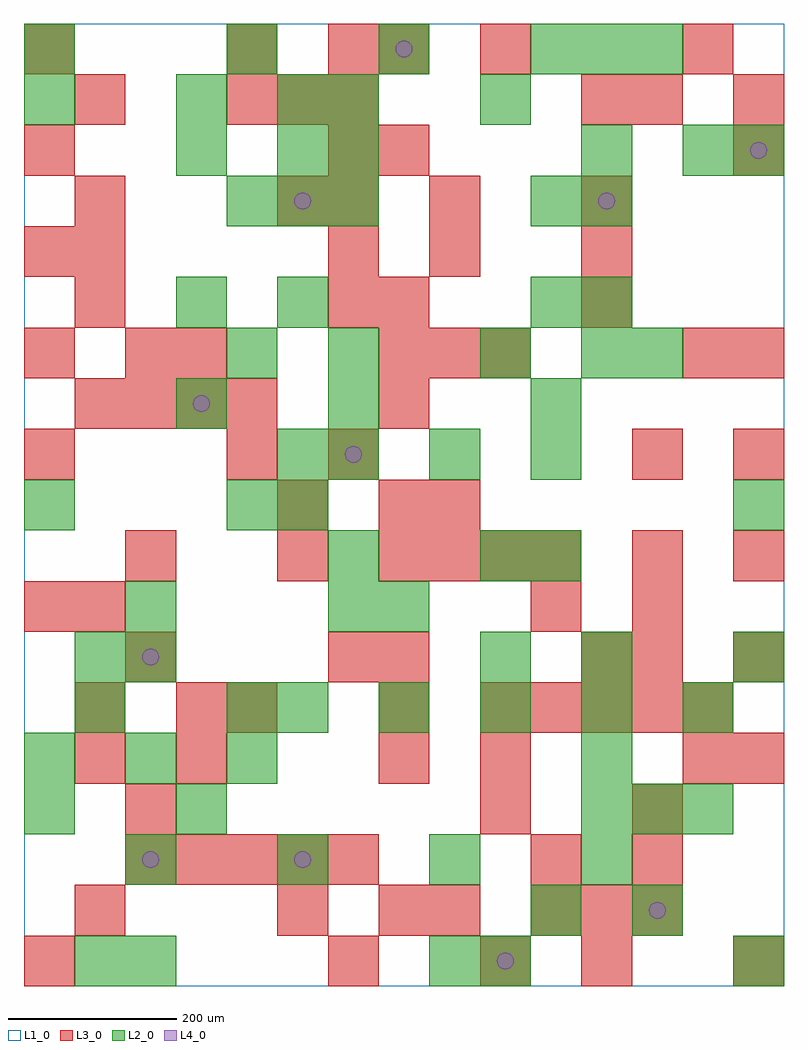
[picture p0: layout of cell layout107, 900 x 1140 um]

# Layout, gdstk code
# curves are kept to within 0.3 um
import gdstk
lib = gdstk.Library(unit=1e-6, precision=1e-09)
def R(c, l, rs):  # rectangles x0, y0, x1, y1
    for r in rs: c.add(gdstk.rectangle(r[:2], r[2:], *l))
def A(c, l, x, y, w, h, nx, ny, dx, dy):  # array of equal rectangles
    R(c, l, [(x+i*dx, y+j*dy, x+i*dx+w, y+j*dy+h) for i in range(nx) for j in range(ny)])
def P(c, l, *ps):  # polygons
    for p in ps: c.add(gdstk.Polygon(p, *l))
L1_0 = (1, 0)
L2_0 = (2, 0)
L3_0 = (3, 0)
L4_0 = (4, 0)

layout107 = lib.new_cell('layout107')
R(layout107, L1_0, [(0,0,900,1140)])
A(layout107, L2_0, 120, 120, 60, 60, 4, 1, 180, 0)
A(layout107, L2_0, 660, 180, 60, 60, 3, 1, 60, 0)
A(layout107, L2_0, 0, 240, 60, 60, 3, 1, 120, 0)
A(layout107, L2_0, 300, 300, 60, 60, 5, 1, 120, 0)
A(layout107, L2_0, 300, 600, 60, 60, 1, 3, 0, 180)
A(layout107, L2_0, 360, 600, 60, 60, 3, 1, 120, 0)
A(layout107, L2_0, 600, 660, 60, 60, 1, 3, 0, 120)
A(layout107, L2_0, 240, 900, 60, 60, 3, 1, 60, 0)
A(layout107, L2_0, 240, 1080, 60, 60, 3, 1, 180, 0)
R(layout107, L2_0, [(60,0,120,60), (120,0,180,60), (480,0,540,60), (540,0,600,60), (840,0,900,60), (600,60,660,120), (720,60,780,120), (0,180,60,240), (180,180,240,240), (660,240,720,300), (60,300,120,360), (240,300,300,360), (60,360,120,420), (120,360,180,420), (540,360,600,420), (660,360,720,420), (840,360,900,420), (120,420,180,480), (360,420,420,480), (420,420,480,480), (360,480,420,540), (540,480,600,540), (600,480,660,540), (0,540,60,600), (240,540,300,600), (300,540,360,600), (840,540,900,600), (180,660,240,720), (360,660,420,720), (240,720,300,780), (360,720,420,780), (540,720,600,780), (660,720,720,780), (720,720,780,780), (180,780,240,840), (660,780,720,840), (660,900,720,960), (180,960,240,1020), (360,960,420,1020), (660,960,720,1020), (780,960,840,1020), (840,960,900,1020), (0,1020,60,1080), (180,1020,240,1080), (300,1020,360,1080), (360,1020,420,1080), (540,1020,600,1080), (0,1080,60,1140), (660,1080,720,1140), (720,1080,780,1140)])
A(layout107, L3_0, 600, 60, 60, 60, 3, 1, 60, 0)
A(layout107, L3_0, 120, 120, 60, 60, 5, 1, 60, 0)
A(layout107, L3_0, 420, 240, 60, 60, 1, 3, 0, 60)
A(layout107, L3_0, 840, 240, 60, 60, 1, 5, 0, 120)
A(layout107, L3_0, 540, 300, 60, 60, 5, 1, 60, 0)
A(layout107, L3_0, 720, 360, 60, 60, 1, 3, 0, 60)
A(layout107, L3_0, 420, 480, 60, 60, 4, 1, 60, 0)
A(layout107, L3_0, 420, 540, 60, 60, 1, 3, 0, 120)
A(layout107, L3_0, 0, 600, 60, 60, 1, 5, 0, 120)
A(layout107, L3_0, 60, 660, 60, 60, 4, 1, 60, 0)
A(layout107, L3_0, 420, 720, 60, 60, 3, 1, 60, 0)
A(layout107, L3_0, 60, 780, 60, 60, 1, 3, 0, 60)
A(layout107, L3_0, 360, 780, 60, 60, 1, 4, 0, 60)
A(layout107, L3_0, 660, 780, 60, 60, 1, 3, 0, 60)
A(layout107, L3_0, 240, 1020, 60, 60, 3, 1, 60, 0)
R(layout107, L3_0, [(0,0,60,60), (360,0,420,60), (540,0,600,60), (660,0,720,60), (840,0,900,60), (60,60,120,120), (300,60,360,120), (420,60,480,120), (480,60,540,120), (600,120,660,180), (720,120,780,180), (120,180,180,240), (540,180,600,240), (720,180,780,240), (60,240,120,300), (180,240,240,300), (540,240,600,300), (780,240,840,300), (60,300,120,360), (180,300,240,360), (240,300,300,360), (120,360,180,420), (360,360,420,420), (660,360,720,420), (0,420,60,480), (60,420,120,480), (600,420,660,480), (120,480,180,540), (300,480,360,540), (300,540,360,600), (480,540,540,600), (240,600,300,660), (360,600,420,660), (720,600,780,660), (120,720,180,780), (180,720,240,780), (780,720,840,780), (480,840,540,900), (300,900,360,960), (480,900,540,960), (420,960,480,1020), (840,960,900,1020), (60,1020,120,1080), (660,1020,720,1080), (720,1020,780,1080), (840,1020,900,1080), (240,1080,300,1140), (360,1080,420,1140), (420,1080,480,1140), (540,1080,600,1140), (780,1080,840,1140)])
P(layout107, L4_0, [(160,150),(159.239,153.827),(157.071,157.071),(153.827,159.239),(150,160),(146.173,159.239),(142.929,157.071),(140.761,153.827),(140,150),(140.761,146.173),(142.929,142.929),(146.173,140.761),(150,140),(153.827,140.761),(157.071,142.929),(159.239,146.173)],
  [(160,390),(159.239,393.827),(157.071,397.071),(153.827,399.239),(150,400),(146.173,399.239),(142.929,397.071),(140.761,393.827),(140,390),(140.761,386.173),(142.929,382.929),(146.173,380.761),(150,380),(153.827,380.761),(157.071,382.929),(159.239,386.173)],
  [(220,690),(219.239,693.827),(217.071,697.071),(213.827,699.239),(210,700),(206.173,699.239),(202.929,697.071),(200.761,693.827),(200,690),(200.761,686.173),(202.929,682.929),(206.173,680.761),(210,680),(213.827,680.761),(217.071,682.929),(219.239,686.173)],
  [(340,150),(339.239,153.827),(337.071,157.071),(333.827,159.239),(330,160),(326.173,159.239),(322.929,157.071),(320.761,153.827),(320,150),(320.761,146.173),(322.929,142.929),(326.173,140.761),(330,140),(333.827,140.761),(337.071,142.929),(339.239,146.173)],
  [(340,930),(339.239,933.827),(337.071,937.071),(333.827,939.239),(330,940),(326.173,939.239),(322.929,937.071),(320.761,933.827),(320,930),(320.761,926.173),(322.929,922.929),(326.173,920.761),(330,920),(333.827,920.761),(337.071,922.929),(339.239,926.173)],
  [(400,630),(399.239,633.827),(397.071,637.071),(393.827,639.239),(390,640),(386.173,639.239),(382.929,637.071),(380.761,633.827),(380,630),(380.761,626.173),(382.929,622.929),(386.173,620.761),(390,620),(393.827,620.761),(397.071,622.929),(399.239,626.173)],
  [(460,1110),(459.239,1113.827),(457.071,1117.071),(453.827,1119.239),(450,1120),(446.173,1119.239),(442.929,1117.071),(440.761,1113.827),(440,1110),(440.761,1106.173),(442.929,1102.929),(446.173,1100.761),(450,1100),(453.827,1100.761),(457.071,1102.929),(459.239,1106.173)],
  [(580,30),(579.239,33.827),(577.071,37.071),(573.827,39.239),(570,40),(566.173,39.239),(562.929,37.071),(560.761,33.827),(560,30),(560.761,26.173),(562.929,22.929),(566.173,20.761),(570,20),(573.827,20.761),(577.071,22.929),(579.239,26.173)],
  [(700,930),(699.239,933.827),(697.071,937.071),(693.827,939.239),(690,940),(686.173,939.239),(682.929,937.071),(680.761,933.827),(680,930),(680.761,926.173),(682.929,922.929),(686.173,920.761),(690,920),(693.827,920.761),(697.071,922.929),(699.239,926.173)],
  [(760,90),(759.239,93.827),(757.071,97.071),(753.827,99.239),(750,100),(746.173,99.239),(742.929,97.071),(740.761,93.827),(740,90),(740.761,86.173),(742.929,82.929),(746.173,80.761),(750,80),(753.827,80.761),(757.071,82.929),(759.239,86.173)],
  [(880,990),(879.239,993.827),(877.071,997.071),(873.827,999.239),(870,1000),(866.173,999.239),(862.929,997.071),(860.761,993.827),(860,990),(860.761,986.173),(862.929,982.929),(866.173,980.761),(870,980),(873.827,980.761),(877.071,982.929),(879.239,986.173)])

lib.write_gds('layout107.gds')
